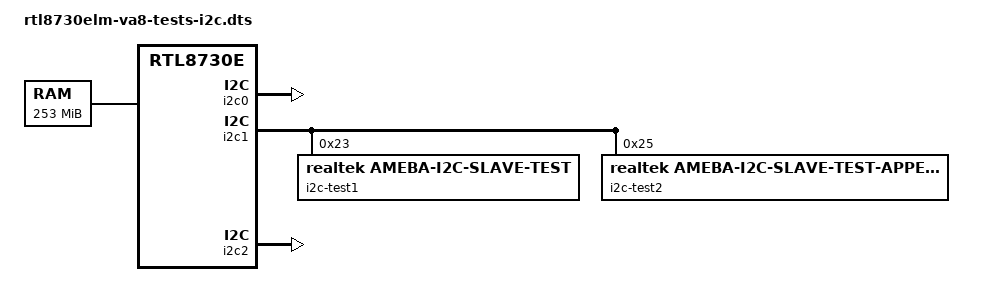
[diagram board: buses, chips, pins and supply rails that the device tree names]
// SPDX-License-Identifier: GPL-2.0-only
/*
* Realtek DTS for I2C test
*
* Copyright (C) 2023, Realtek Corporation. All rights reserved.
*/

/dts-v1/;

#include "rtl8730e.dtsi"
#include "rtl8730e-spi-nand-256m.dtsi"

/ {
	memory {
		device_type = "memory";
		// DRAM base address should be 1MB-aligned.
		reg = <0x60300000 0xFD00000>;  // 256MB -- exclude 3MB secure memory
	};
	reserved-memory {
		#address-cells = <1>;
		#size-cells = <1>;
		ranges;
		// reserver 32M mem for drm graphics , from 0x61000000 to 0x63000000
		mem_drm_reserved: drm_buffer@0x61000000 {
			compatible = "shared-dma-pool";
			no-map;
			reg = <0x61000000 0x2000000>;
			//linux,cma-default;
		};
	};
};

// Configure peripherals.
&i2c0 {
	pinctrl-names = "default";
	pinctrl-0 = <&i2c0_pins>;
	rtk,i2c-reg-slave-num = <0>; // I2C master
	status = "okay";
};

&i2c1 {
	pinctrl-names = "default";
	pinctrl-0 = <&i2c1_pins>;
	#address-cells = <1>; // For i2c bus address
	#size-cells = <0>; // Only reg address is needed
	rtk,i2c-reg-slave-num = <2>; // I2C slaves
	status = "okay";

	i2c-test1 {
		compatible = "realtek,ameba-i2c-slave-test";
		reg = <0x23>;
		};
	i2c-test2 {
		compatible = "realtek,ameba-i2c-slave-test-append";
		reg = <0x25>;
	};
};

&i2c2 {
	#address-cells = <1>;
	#size-cells = <0>;
	pinctrl-names = "default";
	pinctrl-0 = <&i2c2_pins>;
	status = "okay";
};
